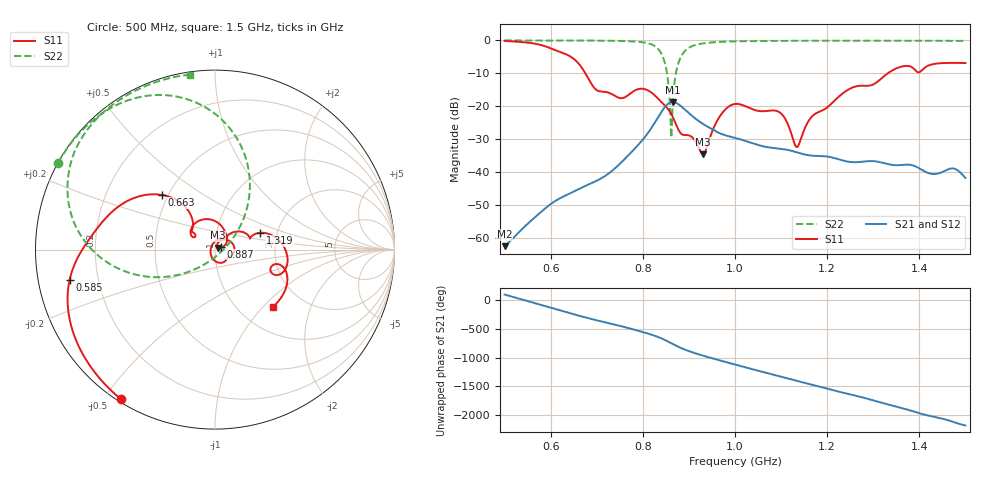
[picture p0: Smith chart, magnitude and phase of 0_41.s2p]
! TOUCHSTONE file generated by CST MICROWAVE STUDIO
! Date and time: Sat Oct 24 11:17:36 2020
! Project name: Scenario_1_Circular_Tissue_in_Line.cst
! Parameters = {L_HA=400; MT=2.54; Rad_Dielectric=30; Rad_Lower=7.3; Rad_Upper=30; a_HA=580; a_WG=246; b_HA=500; b_WG=121; c_HA=0; c_WG=187; d_feed=85; dx1=865.8; h_feed=15; h_lower=18; h_upper=40}
! Header version: 2018
! Port assignment regex: !\s*Touchstone port\s*([0-9]+)\s*=\s*(CST MWS port|CST DS port)\s*([0-9]+|Zmin|Zmax)\s*\(\"(.*)\"\)(\s*mode\s*([0-9]+))?.*
! Touchstone port assignment:
! Touchstone port 1 = CST MWS port 1 ("")
! Touchstone port 2 = CST MWS port 2 ("")
# GHz S DB R 50
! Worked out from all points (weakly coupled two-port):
!   1003 points, 500 MHz to 1.5 GHz, reference 50 ohm
!   highest |S21| = -18.74 dB at 865 MHz (marker M1); lowest = -62.6 dB at 500 MHz (marker M2)
!   lowest |S11| = -34.6 dB at 930 MHz (marker M3), VSWR 1.04, Z = 51.5 + j1.14 ohm
!   |S11| at or under -10 dB: 675.2 MHz to 1.332 GHz (656.5 MHz wide, 65.4 % of centre)
!   |S22| runs from -29.6 to 0.0 dB; largest |S21 - S12| = 0.00059
!   S11 on the Smith chart (normalised r, x): 500 MHz: 0.01, -0.55; 585 MHz: 0.10, -0.10; 663 MHz: 0.46, +0.34; 887 MHz: 1.07, +0.04; 1.319 GHz: 1.63, +0.33; 1.5 GHz: 1.41, -1.14
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0.5  -0.14 -122.3  -62.62 99.6  -62.62 99.6  -0.01 151.2
0.585  -1.64 -168.2  -51.50 -94.7  -51.50 -94.7  -0.02 145.3
0.663  -7.45 134.1  -45.06 87.4  -45.06 87.4  -0.04 138.8
0.667  -8.20 130.9  -44.79 78.8  -44.79 78.8  -0.04 138.5
0.703  -15.35 137.4  -42.48 4.7  -42.48 4.7  -0.07 134.6
0.753  -17.59 146.7  -37.15 -91.4  -37.15 -91.4  -0.16 127.3
0.78  -15.44 143.6  -33.29 -149.2  -33.30 -149.2  -0.31 121.1
0.834  -17.83 69.8  -23.18 77.0  -23.18 77.0  -2.71 87.7
0.851  -20.27 47.5  -19.75 15.3  -19.75 15.3  -8.86 57.9
0.859  -21.77 35.5  -18.91 -18.1  -18.91 -18.1  -19.96 28.3
0.865  -23.33 27.2  -18.74 -43.3  -18.74 -43.3  -18.90 -128.4
0.873  -25.89 21.3  -19.07 -75.7  -19.07 -75.7  -9.11 -154.0
0.887  -28.71 27.9  -20.51 -126.1  -20.51 -126.1  -3.96 -175.6
0.93  -34.63 36.7  -25.36 116.1  -25.37 116.1  -0.92 155.9
0.967  -23.13 51.4  -28.26 32.7  -28.23 32.7  -0.45 146.3
1  -19.34 6.6  -29.66 -39.0  -29.66 -39.0  -0.29 140.8
1.097  -21.90 -66.6  -32.93 116.8  -32.93 116.8  -0.13 130.3
1.134  -32.45 169.3  -34.05 36.8  -34.05 36.8  -0.11 127.1
1.167  -23.15 63.0  -35.07 -29.1  -35.07 -29.1  -0.10 124.5
1.319  -11.43 20.4  -37.19 13.3  -37.19 13.3  -0.09 112.9
1.334  -9.78 14.5  -37.70 -18.5  -37.70 -18.5  -0.09 111.7
1.5  -6.87 -44.8  -41.87 -20.5  -41.87 -20.6  -0.13 98.2
